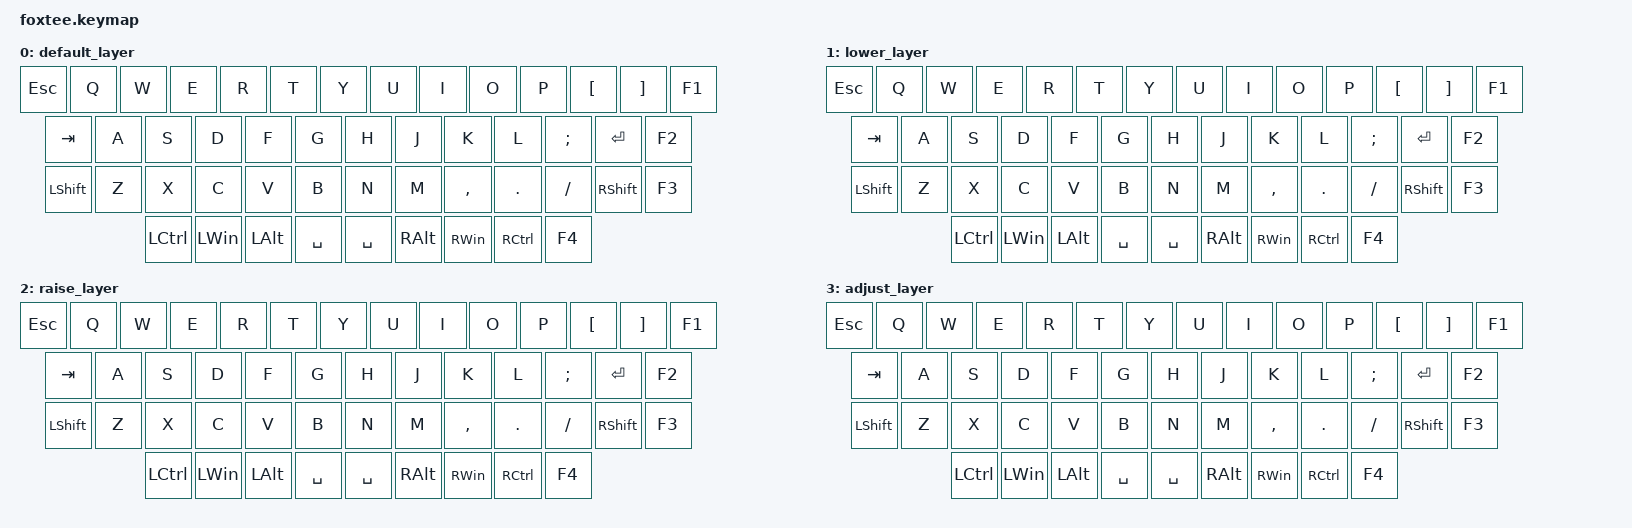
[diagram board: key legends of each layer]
/*
 * Copyright (c) 2022 The ZMK Contributors
 *
 * SPDX-License-Identifier: MIT
 */

#include <behaviors.dtsi>
#include <dt-bindings/zmk/bt.h>
#include <dt-bindings/zmk/keys.h>

#define DEF 0
#define LWR 1
#define RSE 2
#define ADJ 3

&lt {
    quick_tap_ms = <200>;
};

&mt {
    quick_tap_ms = <200>;
};

/ {
    combos {
        compatible = "zmk,combos";

        new_combo {
            bindings = <&kp RIGHT_BRACKET>;
            key-positions = <24 23>;
        };
    };

    keymap {
                compatible = "zmk,keymap";

        default_layer {
                // -----------------------------------------------------------------------------------------
                // |  ESC |  Q  |  W  |  E  |  R  |  T  |  Y  |  U   |  I  |  O  |  P  |  [  |  ]  |    |  F1  |
                // |  TAB  |  A  |  S  |  D  |  F  |  G  |  H  |  J   |  K  |  L  |  ;  |  ENTER   |    |  F2  |      
                // |  LSHFT   |  Z  |  X  |  C  |  V  |  B  |  N  |  M   |  ,  |  .  |  /  | RSHFT |    |  F3  |
                // | LCTRL | LWIN |  LALT  |     SPACE     |      SPACE    |  RALT  | RWIN | RCTRL |    |  F4  |   

                        bindings = <
                &kp ESC  &kp Q &kp W &kp E &kp R &kp T &kp Y  &kp U  &kp I &kp O &kp P &kp LBKT     &kp RBKT     &kp F1
                &kp TAB    &kp A &kp S &kp D &kp F &kp G &kp H  &kp J  &kp K &kp L &kp SEMI         &kp ENTER    &kp F2 
                &kp LSHFT    &kp Z &kp X &kp C &kp V &kp B &kp N  &kp M  &kp COMMA &kp DOT &kp FSLH &kp RSHFT    &kp F3 
                &kp LCTRL  &kp LWIN  &kp LALT      &kp SPACE      &kp SPACE       &kp RALT &kp RWIN &kp RCTRL    &kp F4  
                        >;
                };
                
        lower_layer {
                      // -----------------------------------------------------------------------------------------
                // |  ESC |  Q  |  W  |  E  |  R  |  T  |  Y  |  U   |  I  |  O  |  P  |  [  |  ]  |    |  F1  |
                // |  TAB  |  A  |  S  |  D  |  F  |  G  |  H  |  J   |  K  |  L  |  ;  |  ENTER   |    |  F2  |      
                // |  LSHFT   |  Z  |  X  |  C  |  V  |  B  |  N  |  M   |  ,  |  .  |  /  | RSHFT |    |  F3  |
                // | LCTRL | LWIN |  LALT  |     SPACE     |      SPACE    |  RALT  | RWIN | RCTRL |    |  F4  |   

                        bindings = <
                &kp ESC  &kp Q &kp W &kp E &kp R &kp T &kp Y  &kp U  &kp I &kp O &kp P &kp LBKT     &kp RBKT     &kp F1
                &kp TAB    &kp A &kp S &kp D &kp F &kp G &kp H  &kp J  &kp K &kp L &kp SEMI         &kp ENTER    &kp F2 
                &kp LSHFT    &kp Z &kp X &kp C &kp V &kp B &kp N  &kp M  &kp COMMA &kp DOT &kp FSLH &kp RSHFT    &kp F3 
                &kp LCTRL  &kp LWIN  &kp LALT      &kp SPACE      &kp SPACE       &kp RALT &kp RWIN &kp RCTRL    &kp F4  
                        >;
        };

        raise_layer {
                      // -----------------------------------------------------------------------------------------
                // |  ESC |  Q  |  W  |  E  |  R  |  T  |  Y  |  U   |  I  |  O  |  P  |  [  |  ]  |    |  F1  |
                // |  TAB  |  A  |  S  |  D  |  F  |  G  |  H  |  J   |  K  |  L  |  ;  |  ENTER   |    |  F2  |      
                // |  LSHFT   |  Z  |  X  |  C  |  V  |  B  |  N  |  M   |  ,  |  .  |  /  | RSHFT |    |  F3  |
                // | LCTRL | LWIN |  LALT  |     SPACE     |      SPACE    |  RALT  | RWIN | RCTRL |    |  F4  |   

                        bindings = <
                &kp ESC  &kp Q &kp W &kp E &kp R &kp T &kp Y  &kp U  &kp I &kp O &kp P &kp LBKT     &kp RBKT     &kp F1
                &kp TAB    &kp A &kp S &kp D &kp F &kp G &kp H  &kp J  &kp K &kp L &kp SEMI         &kp ENTER    &kp F2 
                &kp LSHFT    &kp Z &kp X &kp C &kp V &kp B &kp N  &kp M  &kp COMMA &kp DOT &kp FSLH &kp RSHFT    &kp F3 
                &kp LCTRL  &kp LWIN  &kp LALT      &kp SPACE      &kp SPACE       &kp RALT &kp RWIN &kp RCTRL    &kp F4  
                        >;
        };

        adjust_layer {
                       // -----------------------------------------------------------------------------------------
                // |  ESC |  Q  |  W  |  E  |  R  |  T  |  Y  |  U   |  I  |  O  |  P  |  [  |  ]  |    |  F1  |
                // |  TAB  |  A  |  S  |  D  |  F  |  G  |  H  |  J   |  K  |  L  |  ;  |  ENTER   |    |  F2  |      
                // |  LSHFT   |  Z  |  X  |  C  |  V  |  B  |  N  |  M   |  ,  |  .  |  /  | RSHFT |    |  F3  |
                // | LCTRL | LWIN |  LALT  |     SPACE     |      SPACE    |  RALT  | RWIN | RCTRL |    |  F4  |   

                        bindings = <
                &kp ESC  &kp Q &kp W &kp E &kp R &kp T &kp Y  &kp U  &kp I &kp O &kp P &kp LBKT     &kp RBKT     &kp F1
                &kp TAB    &kp A &kp S &kp D &kp F &kp G &kp H  &kp J  &kp K &kp L &kp SEMI         &kp ENTER    &kp F2 
                &kp LSHFT    &kp Z &kp X &kp C &kp V &kp B &kp N  &kp M  &kp COMMA &kp DOT &kp FSLH &kp RSHFT    &kp F3 
                &kp LCTRL  &kp LWIN  &kp LALT      &kp SPACE      &kp SPACE       &kp RALT &kp RWIN &kp RCTRL    &kp F4  
                        >;
        };
    };
};
